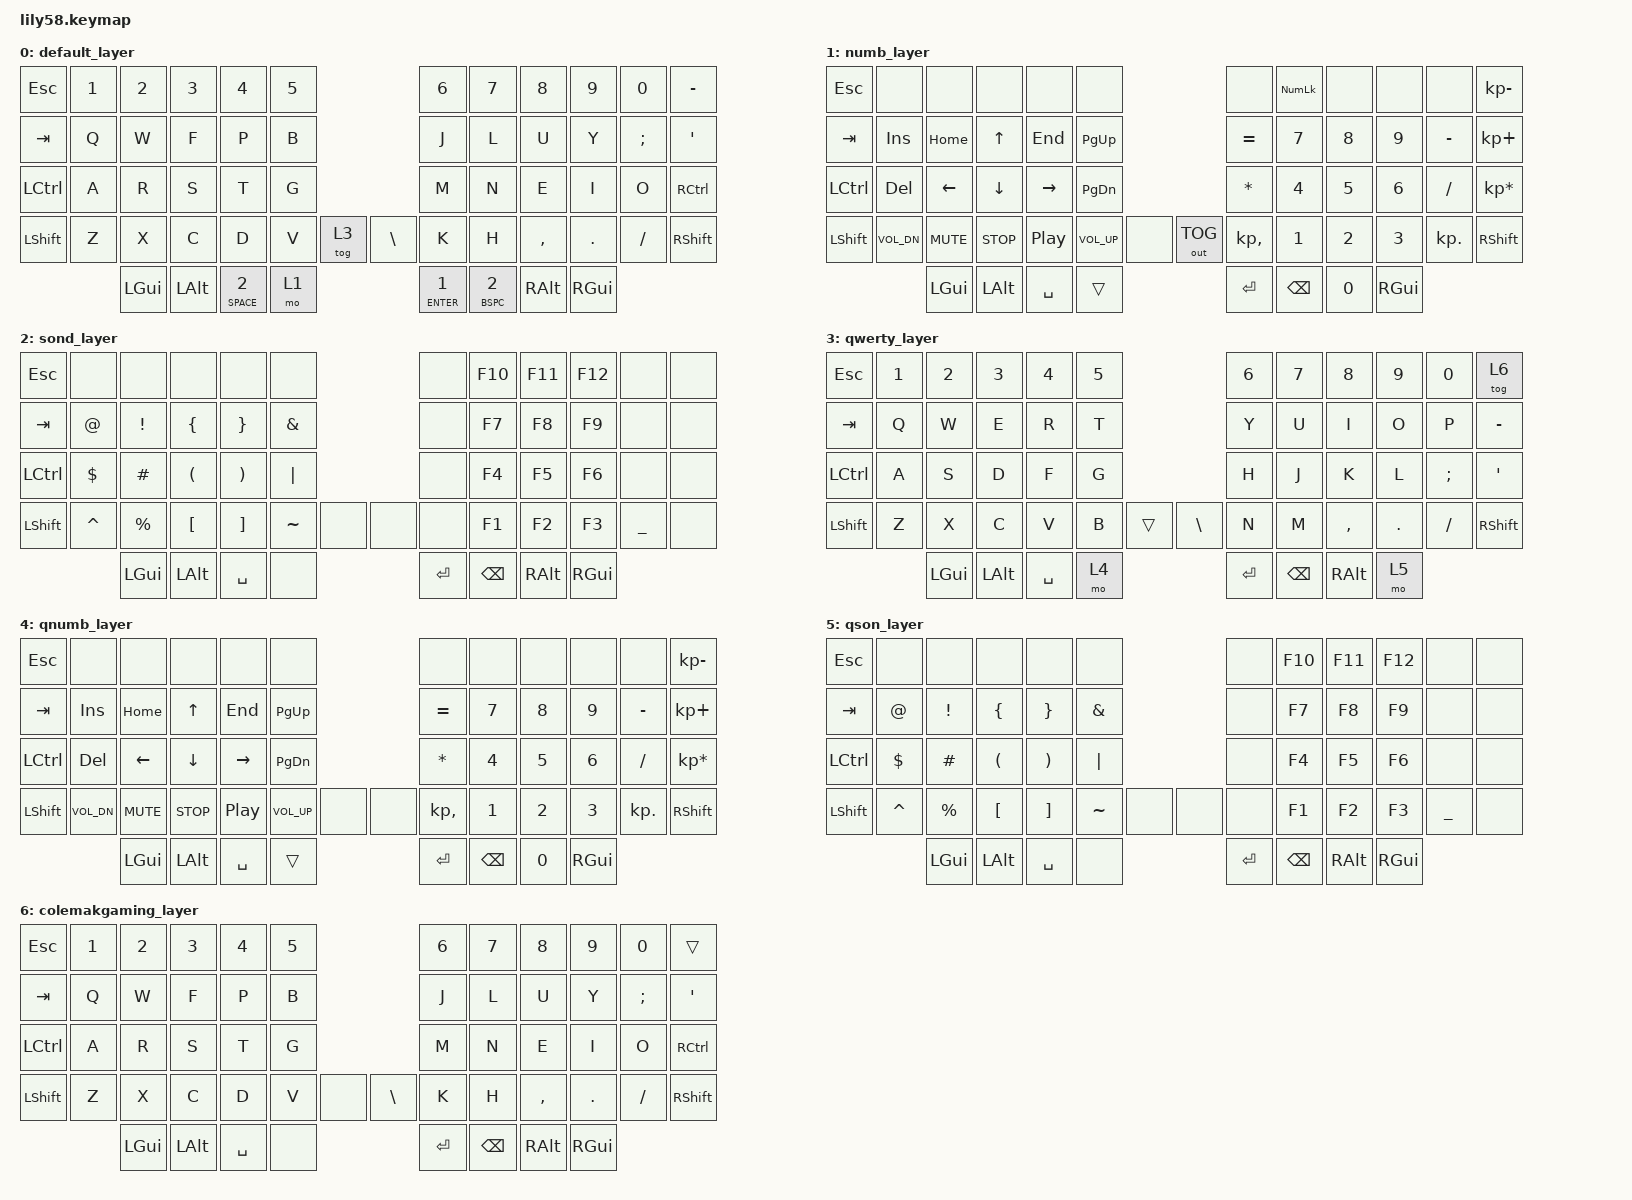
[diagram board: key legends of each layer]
/*
 * Copyright (c) 2020 The ZMK Contributors
 *
 * SPDX-License-Identifier: MIT
 */

#include <behaviors.dtsi>
#include <dt-bindings/zmk/keys.h>
#include <dt-bindings/zmk/bt.h>
#include <dt-bindings/zmk/ext_power.h>
#include <dt-bindings/zmk/outputs.h>
#include <dt-bindings/zmk/ext_power.h>

#define DEFAULT 0
#define NUMB 1
#define SOND 2
#define QWERTY 3
#define QNUMB 4
#define QSON 5
#define COLEMAKGAMING 6

/ {
	keymap {
		compatible = "zmk,keymap";

		default_layer {
bindings = <
&kp ESC   &kp N1 &kp N2 &kp N3   &kp N4   &kp N5                     &kp N6 &kp N7   &kp N8    &kp N9  &kp N0   &kp MINUS
&kp TAB   &kp Q  &kp W  &kp F    &kp P    &kp B                      &kp J  &kp L    &kp U     &kp Y   &kp SEMI &kp SQT
&kp LCTRL &kp A  &kp R  &kp S    &kp T    &kp G                      &kp M  &kp N    &kp E     &kp I   &kp O 	&kp RCTRL
&kp LSHFT &kp Z  &kp X  &kp C    &kp D    &kp V  &tog 3   	&kp BSLH &kp K  &kp H    &kp COMMA &kp DOT &kp FSLH &kp RSHFT
                  &kp LGUI &kp LALT &lt SPACE 2  &mo 1  	&lt ENTER 1 &lt BSPC 2  &kp RALT &kp RGUI
			>;
		};

		numb_layer {
bindings = <
&kp ESC		&none			&none		&none	  	&none		&none									&none    		&kp KP_NUMLOCK	&none	&none   &none    	&kp KP_MINUS
&kp TAB     &kp INS     	&kp HOME  	&kp UP    	&kp END     &kp PG_UP               				&kp EQUAL		&kp N7		&kp N8	&kp N9	&kp MINUS   &kp KP_PLUS
&kp LCTRL  	&kp DEL     	&kp LEFT  	&kp DOWN  	&kp RIGHT	&kp PG_DN								&kp STAR 		&kp N4		&kp N5	&kp N6  &kp FSLH	&kp KP_MULTIPLY
&kp LSHFT	&kp C_VOL_DN	&kp C_MUTE 	&kp C_STOP	&kp C_PP	&kp C_VOL_UP	&none	&out OUT_TOG	&kp KP_COMMA	&kp N1  	&kp N2	&kp N3  &kp KP_DOT		&kp RSHFT
											&kp LGUI 	&kp LALT	&kp SPACE	&trans 	&kp ENTER	&kp BSPC	&kp N0	&kp RGUI
			>;
		};

		sond_layer {
bindings = <
&kp ESC		&none 		&none 		&none  		&none  		&none							&none	&kp F10 &kp F11	&kp F12	&none		&none
&kp TAB		&kp AT 		&kp EXCL 	&kp LBRC  	&kp RBRC  	&kp AMPS                       	&none	&kp F7  &kp F8  &kp F9  &none   	&none
&kp LCTRL   &kp DLLR 	&kp HASH	&kp LPAR  	&kp RPAR  	&kp PIPE                       	&none	&kp F4  &kp F5  &kp F6  &none		&none
&kp LSHFT   &kp CARET	&kp PRCNT 	&kp LBKT	&kp RBKT	&kp TILDE   &none   &none		&none	&kp F1	&kp F2 	&kp F3  &kp UNDER	&none
									&kp LGUI 	&kp LALT	&kp SPACE	&none  	&kp ENTER	&kp BSPC	&kp RALT	&kp RGUI
			>;
		};
		
		qwerty_layer {
bindings = <
&kp ESC   &kp N1 &kp N2 &kp N3   &kp N4   &kp N5                    &kp N6 &kp N7   &kp N8    &kp N9  &kp N0   &tog 6
&kp TAB   &kp Q  &kp W  &kp E    &kp R    &kp T                     &kp Y  &kp U    &kp I     &kp O   &kp P    &kp MINUS
&kp LCTRL &kp A  &kp S  &kp D    &kp F    &kp G                     &kp H  &kp J    &kp K     &kp L   &kp SEMI &kp SQT
&kp LSHFT &kp Z  &kp X  &kp C    &kp V    &kp B  &trans   &kp BSLH 	&kp N  &kp M    &kp COMMA &kp DOT &kp FSLH &kp RSHFT
                        &kp LGUI &kp LALT &kp SPACE &mo 4    &kp ENTER	&kp BSPC  &kp RALT &mo 5
			>;
		};
		
		qnumb_layer {
bindings = <
&kp ESC		&none			&none		&none	  	&none		&none                 			&none    		&none	&none	&none   &none    	&kp KP_MINUS
&kp TAB     &kp INS     	&kp HOME  	&kp UP    	&kp END     &kp PG_UP               		&kp EQUAL		&kp N7	&kp N8	&kp N9	&kp MINUS   &kp KP_PLUS
&kp LCTRL  	&kp DEL     	&kp LEFT  	&kp DOWN  	&kp RIGHT	&kp PG_DN						&kp STAR 		&kp N4	&kp N5	&kp N6  &kp FSLH	&kp KP_MULTIPLY
&kp LSHFT	&kp C_VOL_DN	&kp C_MUTE 	&kp C_STOP	&kp C_PP	&kp C_VOL_UP	&none	&none   &kp KP_COMMA	&kp N1  &kp N2	&kp N3  &kp KP_DOT		&kp RSHFT
											&kp LGUI 	&kp LALT	&kp SPACE	&trans 	&kp ENTER	&kp BSPC	&kp N0	&kp RGUI
			>;
		};
		
		qson_layer {
bindings = <
&kp ESC		&none 		&none 		&none  		&none  		&none                       	&none	&kp F10 &kp F11	&kp F12	&none		&none
&kp TAB		&kp AT 		&kp EXCL 	&kp LBRC  	&kp RBRC  	&kp AMPS                       	&none	&kp F7  &kp F8  &kp F9  &none   	&none
&kp LCTRL   &kp DLLR 	&kp HASH	&kp LPAR  	&kp RPAR  	&kp PIPE                       	&none	&kp F4  &kp F5  &kp F6  &none		&none
&kp LSHFT   &kp CARET	&kp PRCNT 	&kp LBKT	&kp RBKT	&kp TILDE   &none   &none		&none	&kp F1	&kp F2 	&kp F3  &kp UNDER	&none
									&kp LGUI 	&kp LALT	&kp SPACE	&none  	&kp ENTER	&kp BSPC	&kp RALT	&kp RGUI
			>;
		};
		
		colemakgaming_layer {
bindings = <
&kp ESC   &kp N1 &kp N2 &kp N3   &kp N4   &kp N5                     &kp N6 &kp N7   &kp N8    &kp N9  &kp N0   &trans
&kp TAB   &kp Q  &kp W  &kp F    &kp P    &kp B                      &kp J  &kp L    &kp U     &kp Y   &kp SEMI &kp SQT
&kp LCTRL &kp A  &kp R  &kp S    &kp T    &kp G                      &kp M  &kp N    &kp E     &kp I   &kp O 	&kp RCTRL
&kp LSHFT &kp Z  &kp X  &kp C    &kp D    &kp V  &none   	&kp BSLH &kp K  &kp H    &kp COMMA &kp DOT &kp FSLH &kp RSHFT
                  &kp LGUI &kp LALT &kp SPACE  &none  			&kp ENTER &kp BSPC  &kp RALT &kp RGUI
			>;
		};
	};
};
